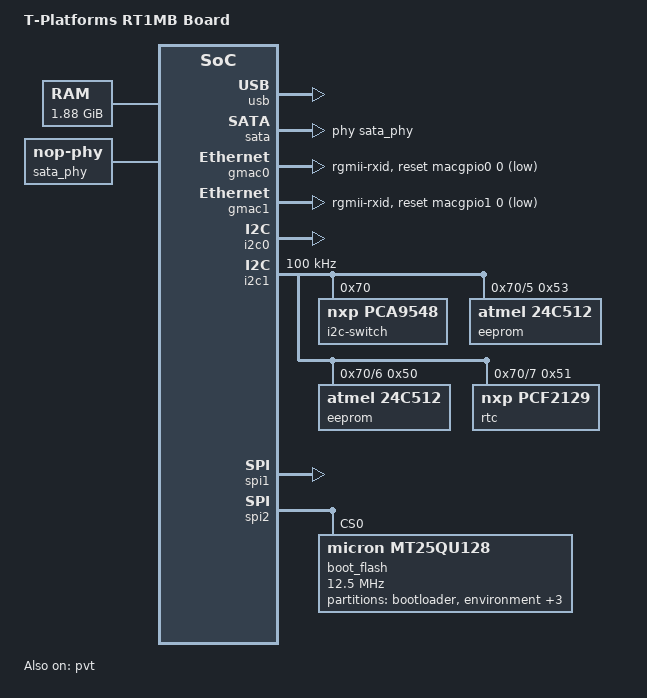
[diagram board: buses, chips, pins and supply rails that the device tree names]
// SPDX-License-Identifier: GPL-2.0+
/*
 * T-Platforms RT1MB board device tree.
 *
 * Copyright (C) 2017-2019 T-Platforms 
 *
 */

#include <dt-bindings/interrupt-controller/mips-gic.h>
#include <dt-bindings/gpio/gpio.h>

/dts-v1/;

#include "baikal_t1_soc.dtsi"

/ {
	model = "T-Platforms RT1MB Board";
	compatible = "baikal,mips", "baikal,baikal-t1-soc";

	aliases {
		spi0 = &spi0;
		spi1 = &spi1;
		spi2 = &spi2;
	};

	chosen {
		bootargs = "root=/dev/ram rw console=ttyS0,115200n8 earlyprintk=uart8250,mmio32,0x1F04A000,115200 nohtw";
		linux,initrd-start = <0 0x01000000>;
		linux,initrd-end   = <0 0x02000000>;
		stdout-path = "serial0:115200n8";
	};

	memory {
		device_type = "memory";
		reg = <0 0x00000000 0 0x08000000>,
		      <0 0x20000000 0 0x70000000>;
	};

	sata_phy: phy@0 {
		compatible = "nop-phy";
		#phy-cells = <0>;
		clocks;
	};

	macgpio0: macgpio@1F05E0E0 {
		compatible = "snps,dwmac-gpio";
		reg = <0 0x1f05e0e0 0 0x4>;
		#gpio-cells = <2>;
	};

	macgpio1: macgpio@1F0600E0 {
		compatible = "snps,dwmac-gpio";
		reg = <0 0x1f0600e0 0 0x4>;
		#gpio-cells = <2>;
	};
};

&usb {
	status = "okay";
};

&sata {
	status = "okay";
	phys = <&sata_phy>;
	phy-names = "sata-phy";
};

&pcie {
//	status = "okay";
};

&gmac0 {
	status = "okay";
	phy-mode = "rgmii-rxid";
	snps,reset-gpio = <&macgpio0 0 GPIO_ACTIVE_LOW>;
	dwmac-reset-phy;
	dwmac-reconfig-phy;
};

&gmac1 {
	status = "okay";
	phy-mode = "rgmii-rxid";
	snps,reset-gpio = <&macgpio1 0 GPIO_ACTIVE_LOW>;
	dwmac-reset-phy;
	dwmac-reconfig-phy;
};

&gpio {
	status = "okay";
};

&gpio3 {
	status = "okay";
};

&i2c0 {
	status = "okay";
};

&i2c1 {
	status = "okay";
	clock-frequency = <100000>;
	u-boot,dm-pre-reloc;

	i2c-switch@70 {
		compatible = "nxp,pca9548";
		reg = <0x70>;
		#address-cells = <1>;
		#size-cells = <0>;

		i2c@5 {
			#address-cells = <1>;
			#size-cells = <0>;
			reg = <5>;

			eeprom@53 {
				compatible = "atmel,24c512";
				reg = <0x53>;
				pagesize = <128>;
			};
		};

		i2c@6 {
			#address-cells = <1>;
			#size-cells = <0>;
			reg = <6>;
			eeprom@50 {
				compatible = "atmel,24c512";
				reg = <0x50>;
				pagesize = <128>;
			};
		};

		i2c@7 {
			#address-cells = <1>;
			#size-cells = <0>;
			reg = <7>;
			rtc@51 {
				compatible = "nxp,pcf2129", "nxp,pcf2127";
				reg = <0x51>;
			};
		};
	};

};

&spi1 {
	num-cs = <1>;
	cs-gpios = <0>;
	status = "okay";
	spi-max-frequency = <5000000>;
};

&spi2 {
	status = "okay";
	num-cs = <1>;
	spi-max-frequency = <25000000>;

	boot_flash: spi_flash@0 {
		#address-cells = <1>;
		#size-cells = <1>;
		reg = <0>;
		compatible = "micron,mt25qu128", "jedec,spi-nor";
		spi-max-frequency = <12500000>;
		m25p,fast-read;

		partition@0 {
			label = "bootloader";
			reg = <0x0 0xE0000>;
			read-only;
		};

		partition@1 {
			label = "environment";
			reg = <0xE0000 0x10000>;
		};

		partition@2 {
			label = "information";
			reg = <0xF0000 0x10000>;
			read-only;
		};

		partition@3 {
			label = "multiimage";
			reg = <0x100000 0xF00000>;
			read-only;
		};

		partition@4 {
			label = "firmware";
			reg = <0x0 0x1000000>;
		};
	};
};

&pvt {
	status = "okay";
};
